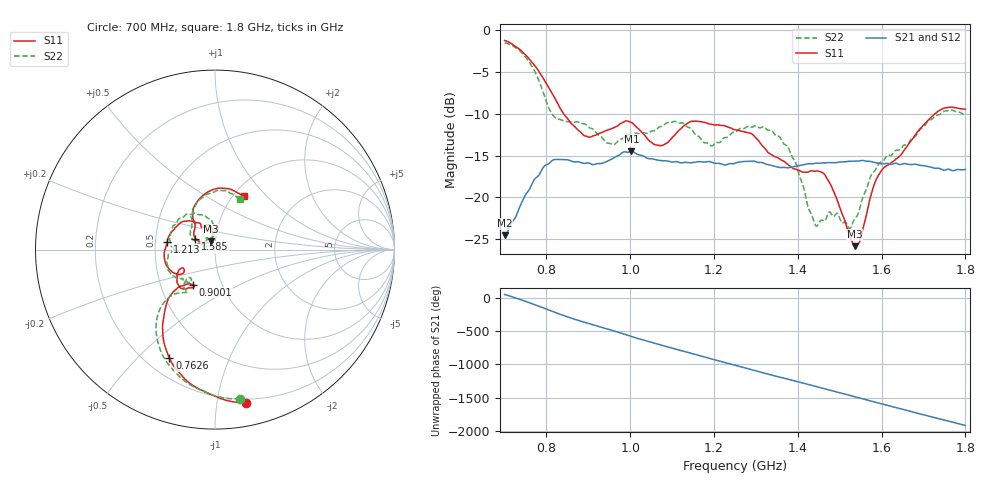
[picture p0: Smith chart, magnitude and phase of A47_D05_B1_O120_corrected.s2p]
! Created with skrf 1.9.0 (http://scikit-rf.org).
# Hz S RI R 50.0
!freq ReS11 ImS11 ReS21 ImS21 ReS12 ImS12 ReS22 ImS22
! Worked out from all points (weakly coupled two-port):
!   1601 points, 700 MHz to 1.8 GHz, reference 50 ohm
!   highest |S21| = -14.49 dB at 1.002 GHz (marker M1); lowest = -24.5 dB at 700 MHz (marker M2)
!   lowest |S11| = -25.8 dB at 1.536 GHz (marker M3), VSWR 1.11, Z = 47.5 + j4.34 ohm
!   |S11| at or under -10 dB: 841 MHz to 1.727 GHz (886.1 MHz wide, 69 % of centre)
!   |S22| runs from -23.7 to -1.5 dB; largest |S21 - S12| = 0.0034
!   S11 on the Smith chart (normalised r, x): 700 MHz: 0.17, -1.21; 762.6 MHz: 0.29, -0.62; 900.1 MHz: 0.73, -0.30; 1.213 GHz: 0.58, +0.05; 1.585 GHz: 0.80, +0.10; 1.8 GHz: 1.12, +0.75
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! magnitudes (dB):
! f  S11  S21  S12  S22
! 700 MHz  -1.2  -24.5  -24.3  -1.5
! 762.6 MHz  -3.7  -18.7  -18.7  -4.1
! 816.9 MHz  -7.8  -15.5  -15.6  -10.2
! 883.6 MHz  -12.3  -15.9  -15.8  -11.1
! 900.1 MHz  -12.8  -15.9  -15.9  -11.6
! 956.4 MHz  -11.7  -15.4  -15.4  -13.6
! 1.002 GHz  -11.0  -14.5  -14.6  -12.5
! 1.067 GHz  -13.8  -15.5  -15.5  -11.6
! 1.144 GHz  -10.9  -15.9  -15.9  -11.7
! 1.213 GHz  -11.3  -15.9  -15.9  -13.4
! 1.25 GHz  -11.9  -15.9  -15.8  -12.2
! 1.357 GHz  -15.4  -16.4  -16.4  -12.8
! 1.394 GHz  -16.6  -16.3  -16.3  -15.8
! 1.434 GHz  -16.8  -16.0  -15.9  -22.2
! 1.445 GHz  -16.8  -15.9  -15.9  -23.5
! 1.473 GHz  -18.0  -15.8  -15.8  -21.9
! 1.536 GHz  -25.8  -15.7  -15.7  -22.6
! 1.55 GHz  -25.0  -15.6  -15.6  -20.9
! 1.585 GHz  -18.1  -15.8  -15.8  -16.7
! 1.617 GHz  -16.0  -16.0  -15.9  -14.9
! 1.733 GHz  -9.7  -16.5  -16.5  -10.1
! 1.8 GHz  -9.4  -16.7  -16.6  -10.1
